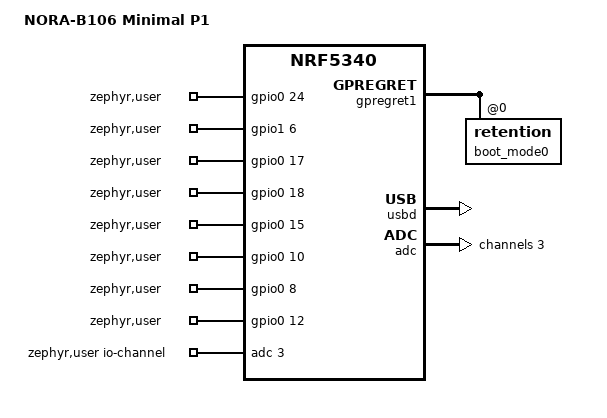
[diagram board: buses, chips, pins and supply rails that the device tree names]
/* SPDX-License-Identifier: Apache-2.0 */
/dts-v1/;
#include <nordic/nrf5340_cpuapp_qkaa.dtsi>
#include <nordic/nrf5340_sram_partition.dtsi>
#include <nordic/nrf5340_shared_sram_partition.dtsi>
#include <zephyr/dt-bindings/gpio/gpio.h>
#include <zephyr/dt-bindings/adc/adc.h>
#include <zephyr/dt-bindings/adc/nrf-saadc.h>

/ {
    model = "NORA-B106 Minimal P1";
    compatible = "nora,nora-b106-minimal";
    chosen {
        zephyr,sram = &sram0_image;
        zephyr,flash = &flash0;
        zephyr,code-partition = &slot0_partition;
        zephyr,console = &cdc_acm_uart0;
        zephyr,shell-uart = &cdc_acm_uart0;
        zephyr,cdc-acm-uart = &cdc_acm_uart0;
        zephyr,boot-mode = &boot_mode0;
    };
    zephyr,user {
        /* J3 pins 3..14, in order. No GPIO is assigned to the network core. */
        gpios = <&gpio0 24 GPIO_ACTIVE_HIGH>, <&gpio1 6 GPIO_ACTIVE_HIGH>,
                <&gpio0 17 GPIO_ACTIVE_HIGH>, <&gpio0 18 GPIO_ACTIVE_HIGH>,
                <&gpio0 15 GPIO_ACTIVE_HIGH>, <&gpio0 10 GPIO_ACTIVE_HIGH>,
                <&gpio0 8 GPIO_ACTIVE_HIGH>, <&gpio0 12 GPIO_ACTIVE_HIGH>,
                <&gpio1 3 GPIO_ACTIVE_HIGH>, <&gpio1 0 GPIO_ACTIVE_HIGH>,
                <&gpio0 20 GPIO_ACTIVE_HIGH>, <&gpio0 7 GPIO_ACTIVE_HIGH>;
        io-channels = <&adc 3>;
    };
};

&gpio0 { status = "okay"; };
&gpio1 { status = "okay"; };
&gpiote { status = "okay"; };

/* The module has its own 32 MHz crystal. u-blox specifies 20 pF load.
 * Zephyr programs the runtime register using factory FICR trim; no UICR edit. */
&hfxo {
    load-capacitors = "internal";
    load-capacitance-femtofarad = <20000>;
};
/* No external 32.768 kHz crystal: the board defconfig selects calibrated RC. */
&lfxo { status = "disabled"; };

&gpregret1 {
    status = "okay";
    boot_mode0: boot-mode@0 {
        compatible = "zephyr,retention";
        status = "okay";
        reg = <0 1>;
    };
};

zephyr_udc0: &usbd {
    compatible = "nordic,nrf-usbd";
    status = "okay";
    cdc_acm_uart0: cdc-acm-uart0 { compatible = "zephyr,cdc-acm-uart"; };
};

&adc {
    status = "okay";
    #address-cells = <1>;
    #size-cells = <0>;
    channel@3 {
        reg = <3>;
        zephyr,gain = "ADC_GAIN_1_6";
        zephyr,reference = "ADC_REF_INTERNAL";
        zephyr,acquisition-time = <ADC_ACQ_TIME_DEFAULT>;
        zephyr,input-positive = <NRF_SAADC_AIN3>;
        zephyr,resolution = <12>;
        zephyr,oversampling = <4>;
    };
};

/* Only application-core internal flash; network flash/UICR are untouched. */
&flash0 {
    partitions {
        compatible = "fixed-partitions";
        #address-cells = <1>;
        #size-cells = <1>;
        boot_partition: partition@0 { label = "mcuboot"; reg = <0x0 0x30000>; };
        slot0_partition: partition@30000 { label = "image-0"; reg = <0x30000 0x60000>; };
        slot1_partition: partition@90000 { label = "image-1"; reg = <0x90000 0x60000>; };
        storage_partition: partition@f0000 { label = "storage"; reg = <0xf0000 0x10000>; };
    };
};

/* The network core and its DFU shared-memory path are unused. */
/delete-node/ &sram0_dfu_shared;
&ipc0 { status = "disabled"; };
